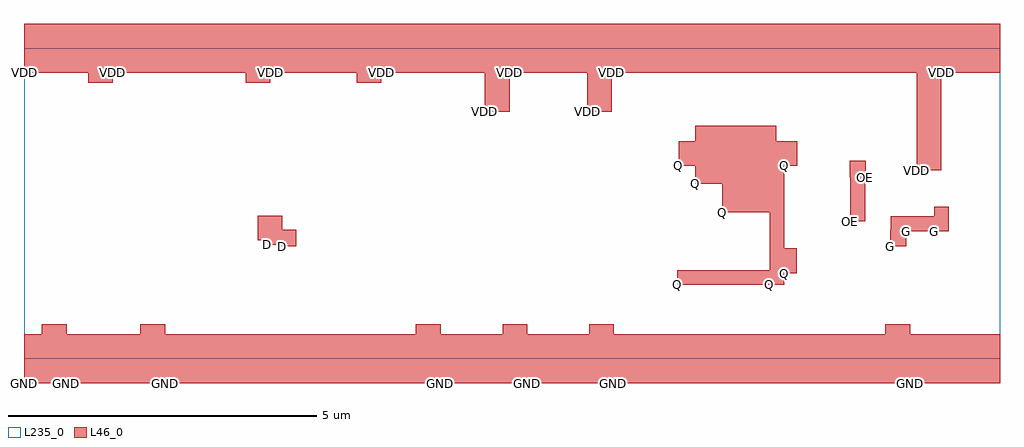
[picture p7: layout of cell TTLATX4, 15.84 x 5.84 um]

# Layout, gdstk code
import gdstk
lib = gdstk.Library(unit=1e-6, precision=1e-09)
def R(c, l, rs):  # rectangles x0, y0, x1, y1
    for r in rs: c.add(gdstk.rectangle(r[:2], r[2:], *l))
L46_0 = (46, 0)
L235_0 = (235, 0)

ttlatx4 = lib.new_cell('TTLATX4')
R(ttlatx4, L46_0, [(0,-0.4,0.29,0.4), (0.29,-0.4,0.69,0.56), (0.69,-0.4,1.89,0.4), (1.89,-0.4,2.29,0.56), (2.29,-0.4,6.36,0.4), (6.36,-0.4,6.76,0.56), (6.76,-0.4,7.77,0.4), (7.77,-0.4,8.17,0.56), (8.17,-0.4,9.17,0.4), (9.17,-0.4,9.57,0.56), (9.57,-0.4,13.98,0.4), (13.98,-0.4,14.38,0.56), (14.38,-0.4,15.84,0.4), (10.6,1.2,12.1,1.44), (12.1,1.2,12.21,3.78), (12.21,1.2,12.34,3.53), (12.34,1.39,12.54,1.79), (4.16,1.83,4.19,2.32), (4.19,1.83,4.42,2.09), (14.06,1.83,14.07,2.09), (14.07,1.83,14.32,2.31), (3.95,1.85,4.16,2.32), (3.79,1.92,3.95,2.32), (14.32,2.07,14.77,2.31), (14.77,2.07,15.01,2.47), (13.41,2.23,13.65,3.21), (11.33,2.38,12.1,3.78), (10.89,2.84,11.33,3.78), (13.4,2.95,13.41,3.21), (13.65,2.95,13.66,3.21), (14.49,3.06,14.89,5.44), (10.63,3.13,10.89,3.53), (12.34,3.13,12.55,3.53), (7.48,4.01,7.88,5.44), (9.14,4.01,9.54,5.44), (1.04,4.48,1.44,5.44), (3.6,4.48,4,5.44), (5.4,4.48,5.8,5.44), (0,4.64,1.04,5.44), (1.44,4.64,3.6,5.44), (4,4.64,5.4,5.44), (5.8,4.64,7.48,5.44), (7.88,4.64,9.14,5.44), (9.54,4.64,14.49,5.44), (14.89,4.64,15.84,5.44)])
R(ttlatx4, L235_0, [(0,0,15.84,5.04)])
ttlatx4.add(gdstk.Label('Q', (12.34,3.13), layer=101, texttype=0))
ttlatx4.add(gdstk.Label('Q', (12.34,1.39), layer=101, texttype=0))
ttlatx4.add(gdstk.Label('Q', (12.21,1.2), layer=101, texttype=0))
ttlatx4.add(gdstk.Label('Q', (12.1,1.2), layer=101, texttype=0))
ttlatx4.add(gdstk.Label('Q', (10.6,1.2), layer=101, texttype=0))
ttlatx4.add(gdstk.Label('Q', (11.33,2.38), layer=101, texttype=0))
ttlatx4.add(gdstk.Label('Q', (10.89,2.84), layer=101, texttype=0))
ttlatx4.add(gdstk.Label('Q', (10.63,3.13), layer=101, texttype=0))
ttlatx4.add(gdstk.Label('OE', (13.65,2.95), layer=101, texttype=0))
ttlatx4.add(gdstk.Label('OE', (13.41,2.23), layer=101, texttype=0))
ttlatx4.add(gdstk.Label('OE', (13.4,2.95), layer=101, texttype=0))
ttlatx4.add(gdstk.Label('G', (14.77,2.07), layer=101, texttype=0))
ttlatx4.add(gdstk.Label('G', (14.32,2.07), layer=101, texttype=0))
ttlatx4.add(gdstk.Label('G', (14.07,1.83), layer=101, texttype=0))
ttlatx4.add(gdstk.Label('G', (14.06,1.83), layer=101, texttype=0))
ttlatx4.add(gdstk.Label('D', (4.19,1.83), layer=101, texttype=0))
ttlatx4.add(gdstk.Label('D', (4.16,1.83), layer=101, texttype=0))
ttlatx4.add(gdstk.Label('D', (3.95,1.85), layer=101, texttype=0))
ttlatx4.add(gdstk.Label('D', (3.79,1.92), layer=101, texttype=0))
ttlatx4.add(gdstk.Label('VDD', (14.89,4.64), layer=101, texttype=0))
ttlatx4.add(gdstk.Label('VDD', (14.49,3.06), layer=101, texttype=0))
ttlatx4.add(gdstk.Label('VDD', (9.54,4.64), layer=101, texttype=0))
ttlatx4.add(gdstk.Label('VDD', (9.14,4.01), layer=101, texttype=0))
ttlatx4.add(gdstk.Label('VDD', (7.88,4.64), layer=101, texttype=0))
ttlatx4.add(gdstk.Label('VDD', (7.48,4.01), layer=101, texttype=0))
ttlatx4.add(gdstk.Label('VDD', (5.8,4.64), layer=101, texttype=0))
ttlatx4.add(gdstk.Label('VDD', (5.4,4.48), layer=101, texttype=0))
ttlatx4.add(gdstk.Label('VDD', (4,4.64), layer=101, texttype=0))
ttlatx4.add(gdstk.Label('VDD', (3.6,4.48), layer=101, texttype=0))
ttlatx4.add(gdstk.Label('VDD', (1.44,4.64), layer=101, texttype=0))
ttlatx4.add(gdstk.Label('VDD', (1.04,4.48), layer=101, texttype=0))
ttlatx4.add(gdstk.Label('VDD', (0,4.64), layer=101, texttype=0))
ttlatx4.add(gdstk.Label('GND', (14.38,-0.4), layer=101, texttype=0))
ttlatx4.add(gdstk.Label('GND', (13.98,-0.4), layer=101, texttype=0))
ttlatx4.add(gdstk.Label('GND', (9.57,-0.4), layer=101, texttype=0))
ttlatx4.add(gdstk.Label('GND', (9.17,-0.4), layer=101, texttype=0))
ttlatx4.add(gdstk.Label('GND', (8.17,-0.4), layer=101, texttype=0))
ttlatx4.add(gdstk.Label('GND', (7.77,-0.4), layer=101, texttype=0))
ttlatx4.add(gdstk.Label('GND', (6.76,-0.4), layer=101, texttype=0))
ttlatx4.add(gdstk.Label('GND', (6.36,-0.4), layer=101, texttype=0))
ttlatx4.add(gdstk.Label('GND', (2.29,-0.4), layer=101, texttype=0))
ttlatx4.add(gdstk.Label('GND', (1.89,-0.4), layer=101, texttype=0))
ttlatx4.add(gdstk.Label('GND', (0.69,-0.4), layer=101, texttype=0))
ttlatx4.add(gdstk.Label('GND', (0.29,-0.4), layer=101, texttype=0))
ttlatx4.add(gdstk.Label('GND', (0,-0.4), layer=101, texttype=0))

lib.write_gds('TTLATX4.gds')
